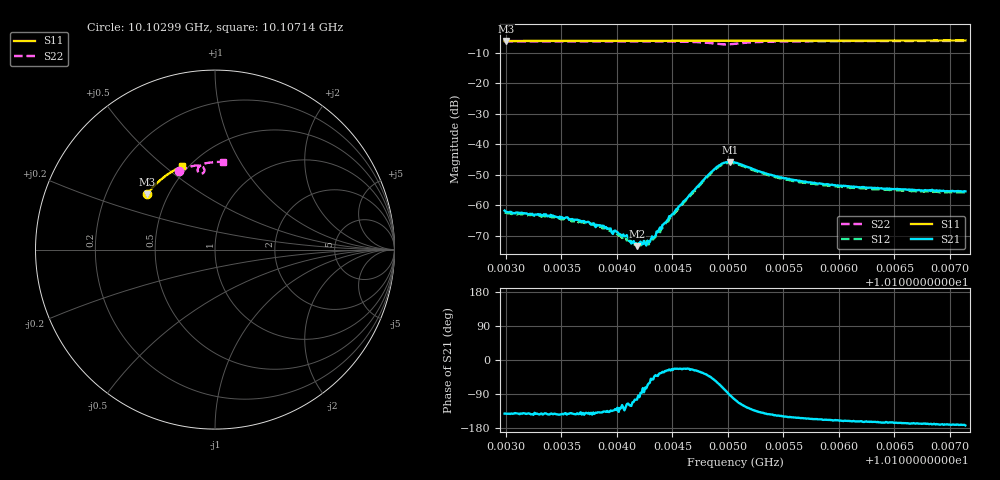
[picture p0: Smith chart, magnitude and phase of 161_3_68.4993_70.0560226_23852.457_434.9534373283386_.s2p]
#  HZ  S  RI  R  50.00
! Rohde & Schwarz Vector Network Analyzer
! Rohde-Schwarz,ZNB20-2Port,1311601062101988,3.16
! Created: UTC 3/20/2024, 5:10:57 PM
! freq[Hz]  re:S11  im:S11  re:S21  im:S21  re:S12  im:S12  re:S22  im:S22
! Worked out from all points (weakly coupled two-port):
!   401 points, 10.10299 GHz to 10.10714 GHz, reference 50 ohm
!   highest |S21| = -45.80 dB at 10.10502 GHz (marker M1); lowest = -73.3 dB at 10.10418 GHz (marker M2)
!   lowest |S11| = -6.2 dB at 10.103 GHz (marker M3), VSWR 2.91, Z = 19.1 + j15.5 ohm
!   |S11| at or under -10 dB: nowhere
!   |S22| runs from -7.3 to -6.2 dB; largest |S21 - S12| = 0.00054
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1.0102989e10  -0.3784 0.3081  -0.00064 -0.00051  -0.000531 -0.000543  -0.2006 0.4362
1.0102999e10  -0.378 0.3084  -0.000614 -0.000495  -0.000529 -0.000536  -0.1999 0.4366
1.0103414e10  -0.3624 0.3285  -0.000524 -0.000415  -0.000469 -0.00043  -0.1748 0.4484
1.0103684e10  -0.3516 0.341  -0.000432 -0.000312  -0.000375 -0.000361  -0.1577 0.4553
1.0103923e10  -0.3418 0.3517  -0.000306 -0.000284  -0.000259 -0.000304  -0.1418 0.4609
1.0103944e10  -0.341 0.3526  -0.000288 -0.000305  -0.000272 -0.0003  -0.1402 0.4613
1.0104078e10  -0.3354 0.3586  -0.000182 -0.000253  -0.000127 -0.000273  -0.1307 0.4639
1.010413e10  -0.3331 0.3608  -0.000122 -0.000203  -9.94e-05 -0.000253  -0.1269 0.4649
1.0104182e10  -0.3311 0.3631  -5.36e-05 -0.00021  -9.39e-06 -0.000217  -0.1231 0.4659
1.0104276e10  -0.327 0.3669  0.000104 -0.000241  0.000134 -0.000225  -0.1159 0.4674
1.0104307e10  -0.3255 0.3683  0.000182 -0.000212  0.000179 -0.000193  -0.1133 0.4678
1.0104379e10  -0.3224 0.3714  0.000322 -0.000238  0.000319 -0.000203  -0.1073 0.4687
1.0104545e10  -0.3149 0.3783  0.000811 -0.000341  0.000777 -0.000292  -0.0915 0.4692
1.0104857e10  -0.3005 0.3905  0.00239 -0.00266  0.00259 -0.00231  -0.0588 0.4444
1.010494e10  -0.2967 0.3935  0.00169 -0.00441  0.00201 -0.00407  -0.0656 0.4272
1.0105023e10  -0.293 0.3966  -0.000352 -0.00512  0.000142 -0.00494  -0.0849 0.4243
1.0105064e10  -0.2911 0.3982  -0.00125 -0.00484  -0.00083 -0.00474  -0.0923 0.43
1.0105448e10  -0.2727 0.4126  -0.00247 -0.00163  -0.00221 -0.00178  -0.0746 0.4725
1.010576e10  -0.2571 0.4233  -0.00213 -0.000965  -0.00196 -0.00111  -0.0498 0.4813
1.0106081e10  -0.2407 0.4337  -0.00194 -0.000678  -0.00178 -0.000817  -0.0265 0.4855
1.0106455e10  -0.2212 0.445  -0.00181 -0.000497  -0.00166 -0.000615  -0.00092 0.488
1.010714e10  -0.1839 0.4633  -0.00168 -0.000218  -0.00157 -0.000382  0.0446 0.4879
